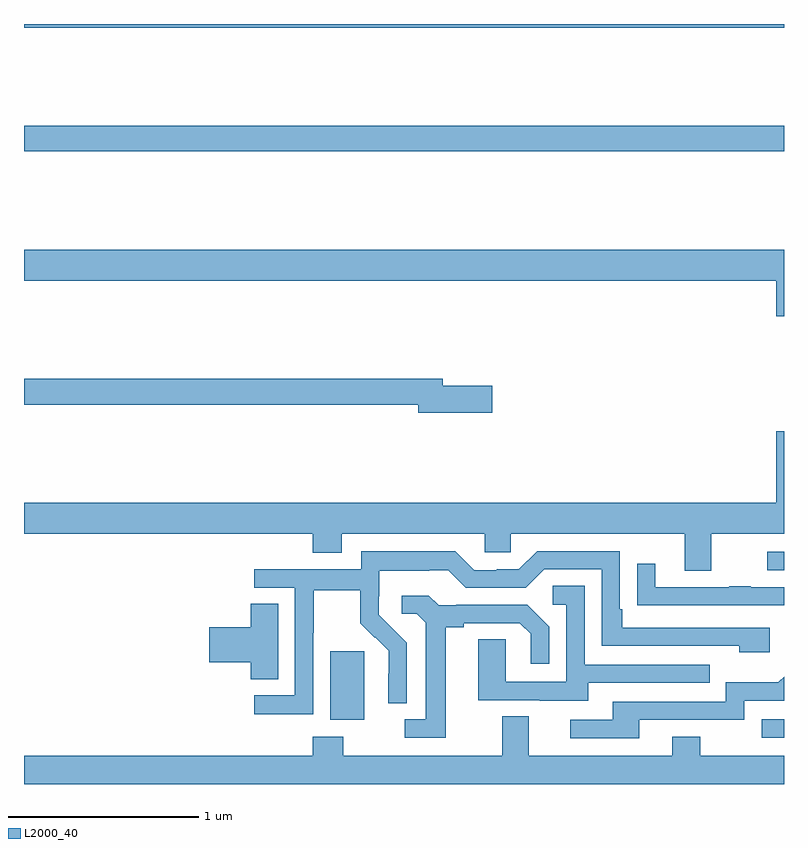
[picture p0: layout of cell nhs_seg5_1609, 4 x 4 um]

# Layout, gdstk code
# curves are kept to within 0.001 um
import gdstk
lib = gdstk.Library(unit=1e-6, precision=1e-09)
def R(c, l, rs):  # rectangles x0, y0, x1, y1
    for r in rs: c.add(gdstk.rectangle(r[:2], r[2:], *l))
def P(c, l, *ps):  # polygons
    for p in ps: c.add(gdstk.Polygon(p, *l))
L2000_40 = (2000, 40)

nhs_seg5_1609 = lib.new_cell('nhs_seg5_1609')
R(nhs_seg5_1609, L2000_40, [(212.883,833.043,213,833.139), (210.611,833.138,210.79,833.499), (212.913,833.925,213,834.021), (209,836.128,213,836.264), (209,836.78,213,836.799)])
P(nhs_seg5_1609, L2000_40, [(213,835.612),(209,835.612),(209,835.448),(212.96,835.448),(212.96,835.26),(213,835.26)],
  [(211.465,834.896),(211.204,834.896),(211.204,834.932),(209,834.932),(209,834.796),(211.076,834.796),(211.076,834.754),(211.465,834.754)],
  [(212.617,834.116),(213,834.116),(213,834.655),(212.96,834.655),(212.96,834.28),(209,834.28),(209,834.116),(210.521,834.116),(210.521,834.017),(210.673,834.017),(210.673,834.116),(211.425,834.116),(211.425,834.018),(211.563,834.018),(211.563,834.116),(212.477,834.116),(212.477,833.922),(212.617,833.922)],
  [(210.522,833.596),(210.525,833.596),(210.525,833.82),(210.769,833.82),(210.769,833.645),(210.846,833.568),(210.849,833.571),(210.92,833.501),(210.92,833.378),(210.918,833.378),(210.918,833.224),(211.014,833.224),(211.014,833.542),(210.868,833.69),(210.868,833.787),(210.87,833.787),(210.87,833.921),(211.133,833.921),(211.133,833.925),(211.233,833.925),(211.326,833.832),(211.641,833.832),(211.737,833.928),(212.04,833.928),(212.04,833.526),(212.765,833.526),(212.765,833.492),(212.926,833.492),(212.926,833.622),(212.149,833.622),(212.149,833.719),(212.136,833.719),(212.136,834.024),(211.701,834.024),(211.605,833.928),(211.487,833.928),(211.487,833.925),(211.371,833.925),(211.271,834.025),(210.774,834.025),(210.774,833.928),(210.213,833.928),(210.213,833.832),(210.426,833.832),(210.426,833.265),(210.213,833.265),(210.213,833.167),(210.522,833.167)],
  [(213,833.835),(212.825,833.835),(212.825,833.84),(212.713,833.84),(212.713,833.835),(212.323,833.835),(212.323,833.959),(212.227,833.959),(212.227,833.74),(212.329,833.74),(212.329,833.739),(213,833.739)],
  [(211.969,833.331),(212.609,833.331),(212.609,833.427),(211.95,833.427),(211.95,833.843),(211.782,833.843),(211.782,833.742),(211.854,833.742),(211.854,833.337),(211.536,833.337),(211.536,833.561),(211.391,833.561),(211.391,833.241),(211.715,833.241),(211.715,833.237),(211.969,833.237)],
  [(211.219,833.624),(211.315,833.624),(211.315,833.646),(211.61,833.646),(211.667,833.589),(211.667,833.433),(211.764,833.433),(211.764,833.626),(211.648,833.742),(211.276,833.742),(211.276,833.739),(211.182,833.739),(211.13,833.791),(210.987,833.791),(210.987,833.694),(211.068,833.694),(211.115,833.647),(211.115,833.139),(211.005,833.139),(211.005,833.043),(211.219,833.043)],
  [(210.337,833.747),(210.194,833.747),(210.194,833.624),(209.976,833.624),(209.976,833.441),(210.194,833.441),(210.194,833.35),(210.337,833.35)],
  [(212.239,833.136),(212.79,833.136),(212.79,833.238),(213,833.238),(213,833.364),(212.971,833.335),(212.694,833.335),(212.694,833.232),(212.099,833.232),(212.099,833.136),(211.875,833.136),(211.875,833.04),(212.239,833.04)],
  [(213,832.948),(212.559,832.948),(212.559,833.047),(212.411,833.047),(212.411,832.948),(211.657,832.948),(211.657,833.156),(211.517,833.156),(211.517,832.948),(210.681,832.948),(210.681,833.047),(210.521,833.047),(210.521,832.948),(209,832.948),(209,832.799),(213,832.799)])

lib.write_gds('nhs_seg5_1609.gds')
